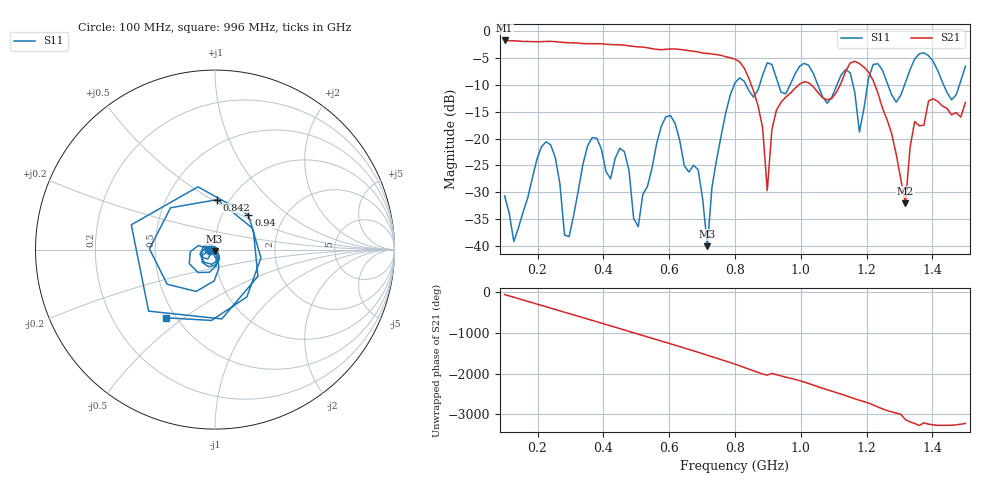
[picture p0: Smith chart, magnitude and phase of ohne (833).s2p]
! NanoVNA-App
! Date: 2025-09-25 14:27:17
! Start: 100MHz Stop: 1,5GHz Points: 101
! S-Parameter data: F S11 S21 S12 S22
# Hz S RI R 50
!  Frequency  S11_Real  S11_Imag  S21_Real  S21_Imag  S12_Real  S12_Imag  S22_Real  S22_Imag
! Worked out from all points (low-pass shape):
!   101 points, 100 MHz to 1.5 GHz, reference 50 ohm
!   highest |S21| = -1.79 dB at 100 MHz (marker M1); lowest = -32.0 dB at 1.318 GHz (marker M2)
!   |S21| within 3 dB of the highest: start of sweep to 771 MHz
!   lowest |S11| = -40.0 dB at 716 MHz (marker M3), VSWR 1.02, Z = 49.8 - j0.974 ohm
!   |S11| at or under -10 dB: start of sweep to 797.8 MHz; 833.1 MHz to 875.1 MHz (41.95 MHz wide, 4.91 % of centre); 1.051 GHz to 1.11 GHz (58.7 MHz wide, 5.43 % of centre) (the widest 3 of 7)
!   S12 and S22 are empty: the file has one direction only
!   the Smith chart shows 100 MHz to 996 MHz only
!   S11 on the Smith chart (normalised r, x): 100 MHz: 0.94, -0.01; 842 MHz: 0.88, +0.53; 940 MHz: 1.33, +0.55; 996 MHz: 0.44, -0.43
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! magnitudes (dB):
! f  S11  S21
! 100 MHz  -30.6  -1.8
! 128 MHz  -39.1  -1.9
! 226 MHz  -20.6  -2.0
! 296 MHz  -38.2  -2.2
! 338 MHz  -24.8  -2.4
! 464 MHz  -22.4  -2.7
! 506 MHz  -36.4  -3.0
! 576 MHz  -17.7  -3.5
! 688 MHz  -25.8  -3.9
! 716 MHz  -40.0  -4.2
! 800 MHz  -9.7  -5.3
! 842 MHz  -11.1  -8.8
! 898 MHz  -5.9  -29.7
! 940 MHz  -11.4  -13.3
! 996 MHz  -6.6  -9.9
! 1.038 GHz  -7.9  -10.4
! 1.178 GHz  -18.8  -6.1
! 1.22 GHz  -6.3  -9.3
! 1.276 GHz  -11.9  -19.1
! 1.318 GHz  -9.6  -32.0
! 1.346 GHz  -5.2  -16.8
! 1.5 GHz  -6.6  -13.3
